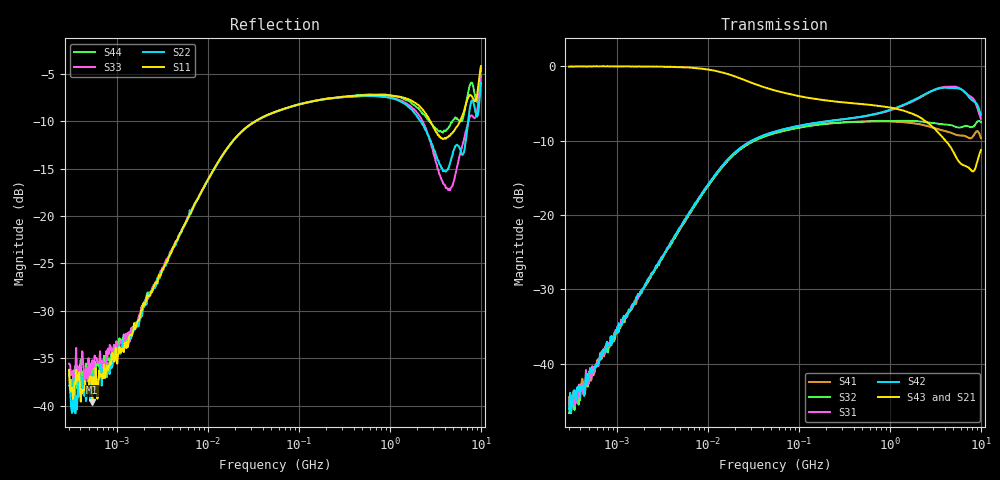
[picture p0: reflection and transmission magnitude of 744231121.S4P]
! This data is being provided by Wuerth Elektronik eiSos GmbH & Co. KG to the industry for analysis.
! Document information:
! Version:rev19a Date: 16/12/2019
! Component information:
! Match Code: WE-CNSW P/N: 744231121 Size: 0805
! Disclaimer:  While Würth Elektronik eiSos has made every reasonable effort to ensure the accuracy
! of the information provided, Würth Elektronik eiSos does not guarantee the exemption of error on the
! data collection measurements, nor does Würth Elektronik eiSos guarantee that the information is current.
! Würth Elektronik eiSos reserves the right to make any adjustments at any time without notice.
! Würth Elektronik eiSos expressly disclaims all implied warranties regarding this measurement data collection.
! Note 1  This data measurement is representative according to the product implementation into the fixture.
! Component behavior is sensitive to implementation into the fixture, which includes board
! materials, trace geometry information, connector pin out, layer connection, use of de-embedding
! techniques, etc.
! Note 2 - The fixture was designed specifically to match the 50 Ohm line impedance, as well as the connector impedance,
! in order to accomplish a reliable measurement without reflections in the trace. Any other implementation of the fixture will change the obtained
! measurement performance. The used fixture behavior was de-embedded to accomplish reliable measurement results.
! The test setup consisted of the following:
!  - Agilent VNA E5071C or E5071B
!  - Calibrations are SOLT (short open load thru)
!  - De-embedding of the SMA's or line cards were included
!  - Equipment Settings -
!  - Sampling - 501 points
!  - IF BW  70 kHz
!  - Averaging  Not used
!  Port 1----->|1|  |2| -----> Port 3
!  |  DUT  |
!  Port 2----->|3|  |4| -----> Port 4
!*VNA Port --> |Port in Datasheet|
! |Port in Datasheet| --> VNA Port
! For further information regarding this testing, please contact
! Wuerth Elektronik eiSos
! Contact: EDA team in QDC
! Email: libraries@we-online.com or libraries@we-online.de
# Hz S dB R 50
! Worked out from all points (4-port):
!   501 points, 300 kHz to 10 GHz, reference 50 ohm
!   strongest paths, dB at 300 kHz, 4.054 MHz, 54.77 MHz, 740.1 MHz, 10 GHz:
!     S43: -0.1, -0.1, -3.3, -5.3, -11.3
!     S21: -0.1, -0.1, -3.3, -5.3, -11.1
!     S42: -46.1, -23.4, -8.8, -6.3, -6.5
!     S31: -45.5, -23.5, -8.8, -6.4, -7.1
!     S32: -46.6, -23.6, -9.0, -7.4, -7.5
!     S41: -44.5, -23.8, -9.0, -7.4, -9.7
!   lowest |S11| = -39.6 dB at 540.1 kHz (marker M1), VSWR 1.02, Z = 49.4 + j0.866 ohm
!   |S11| at or under -10 dB: start of sweep to 33.58 MHz; 2.779 GHz to 5.895 GHz (3.116 GHz wide, 71.8 % of centre)
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300000  -36.20 127.7  -0.06 1.2  -44.01 79.5  -45.93 -72.9
        -0.05 1.2  -37.87 123.2  -48.16 -103.6  -46.33 77.9
        -45.51 79.1  -46.62 -93.4  -35.55 130.7  -0.06 1.2
        -44.50 -99.2  -46.06 89.2  -0.06 1.2  -36.33 137.4
540146  -39.63 122.9  -0.03 1.2  -41.52 93.6  -42.66 -95.8
        -0.03 1.1  -36.62 115.8  -41.09 -97.0  -40.81 92.9
        -40.59 89.2  -41.65 -87.8  -35.20 125.0  -0.01 1.1
        -40.32 -85.9  -40.80 85.3  -0.03 1.1  -35.74 131.3
2.812525e7  -10.49 41.7  -2.09 -13.6  -10.22 41.5  -10.40 -139.8
            -2.09 -13.6  -10.48 41.5  -10.42 -140.0  -10.23 41.5
            -10.24 41.5  -10.43 -140.0  -10.49 41.8  -2.08 -13.6
            -10.42 -139.8  -10.24 41.6  -2.08 -13.6  -10.50 42.0
5.812121e8  -7.26 -4.0  -5.17 -19.0  -6.64 10.9  -7.42 167.3
            -5.18 -19.0  -7.34 -6.7  -7.42 163.9  -6.60 11.6
            -6.65 10.9  -7.42 163.9  -7.33 -7.4  -5.17 -18.9
            -7.42 167.3  -6.61 11.6  -5.17 -18.9  -7.19 -3.3
2.692262e9  -9.77 -15.6  -7.81 -69.2  -3.51 3.8  -8.09 107.0
            -7.82 -69.1  -11.67 -25.6  -7.55 94.5  -3.51 4.7
            -3.52 3.9  -7.56 94.6  -11.72 -31.9  -7.75 -68.4
            -8.11 107.2  -3.49 4.8  -7.74 -68.5  -9.98 -12.8
4.680271e9  -11.37 -7.2  -10.97 -114.3  -2.75 -15.8  -8.93 67.3
            -10.98 -114.2  -14.14 9.4  -7.91 51.1  -2.94 -12.8
            -2.76 -15.7  -7.93 51.3  -17.03 -9.4  -10.93 -112.0
            -8.93 67.5  -2.94 -12.7  -10.93 -112.2  -10.22 8.1
1e10  -4.21 -10.6  -11.05 135.1  -6.99 -53.6  -9.71 -14.2
      -11.06 135.4  -5.96 12.4  -7.49 -23.4  -6.55 -46.7
      -7.06 -53.1  -7.51 -22.9  -5.26 9.3  -11.30 137.1
      -9.66 -13.7  -6.54 -46.5  -11.27 137.1  -4.48 -7.9
